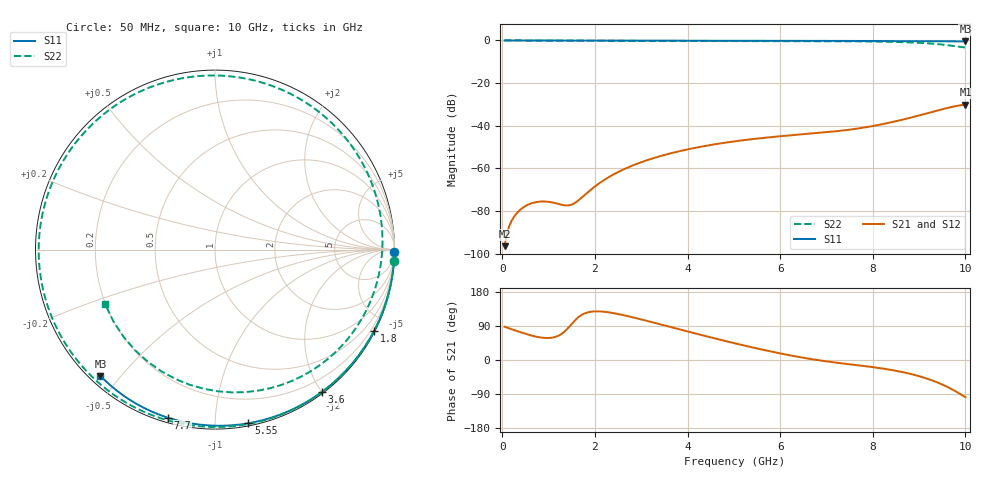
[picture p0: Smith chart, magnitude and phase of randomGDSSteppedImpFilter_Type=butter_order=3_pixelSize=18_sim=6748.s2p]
! freq	dB(S11)	phase(S11)	dB(S12)	phase(S12)
!  dB(S21)	phase(S21)	dB(S22)	phase(S22)
!S-par simulation data
#  GHz  S  DB  R 50
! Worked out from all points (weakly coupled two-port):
!   200 points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, 50 MHz to 10 GHz, reference 50 ohm
!   highest |S21| = -30.09 dB at 10 GHz (marker M1); lowest = -96.5 dB at 50 MHz (marker M2)
!   lowest |S11| = -0.4 dB at 10 GHz (marker M3), VSWR 39.17, Z = 1.53 - j22.1 ohm
!   |S11| at or under -10 dB: nowhere
!   |S22| runs from -3.3 to 0.0 dB; largest |S21 - S12| = 0
!   S11 on the Smith chart (normalised r, x): 50 MHz: open; 1.8 GHz: 0.04, -4.15; 3.6 GHz: 0.02, -2.01; 5.55 GHz: 0.02, -1.21; 7.7 GHz: 0.02, -0.76; 10 GHz: 0.03, -0.44
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0.05  -0.00 -0.8  -96.54 87.8  -96.54 87.8  -0.00 -3.8
0.35  -0.01 -5.3  -80.22 75.0  -80.22 75.0  -0.04 -26.0
0.45  -0.01 -6.9  -78.41 71.2  -78.41 71.2  -0.05 -33.3
0.9  -0.02 -13.7  -75.57 58.4  -75.57 58.4  -0.08 -64.2
1.45  -0.03 -21.9  -77.33 88.5  -77.33 88.5  -0.10 -97.2
1.75  -0.03 -26.4  -73.08 121.3  -73.08 121.3  -0.12 -113.0
1.8  -0.03 -27.1  -72.13 123.9  -72.13 123.9  -0.12 -115.5
2.55  -0.05 -38.1  -61.22 120.1  -61.22 120.1  -0.14 -149.2
3.4  -0.07 -50.2  -54.35 94.5  -54.35 94.5  -0.15 178.6
3.6  -0.07 -53.0  -53.16 88.1  -53.16 88.1  -0.16 171.6
4.3  -0.09 -62.6  -49.82 65.9  -49.82 65.9  -0.18 147.9
5.05  -0.11 -72.6  -47.25 43.2  -47.25 43.2  -0.21 123.0
5.55  -0.13 -79.1  -45.93 29.1  -45.93 29.1  -0.24 106.3
6.15  -0.15 -86.7  -44.66 13.8  -44.66 13.8  -0.27 85.6
6.7  -0.18 -93.6  -43.65 1.8  -43.65 1.8  -0.31 65.8
7.2  -0.21 -99.7  -42.63 -6.9  -42.63 -6.9  -0.36 46.7
7.7  -0.24 -105.6  -41.25 -14.2  -41.25 -14.2  -0.44 26.4
8.35  -0.29 -113.3  -38.63 -25.2  -38.63 -25.2  -0.64 -3.4
8.95  -0.34 -120.2  -35.48 -41.0  -35.48 -41.0  -1.05 -37.6
9.45  -0.39 -125.9  -32.56 -62.0  -32.56 -62.0  -1.81 -78.1
9.75  -0.42 -129.3  -30.98 -79.9  -30.98 -79.9  -2.60 -113.6
10  -0.44 -132.2  -30.09 -98.2  -30.09 -98.2  -3.31 -153.5
